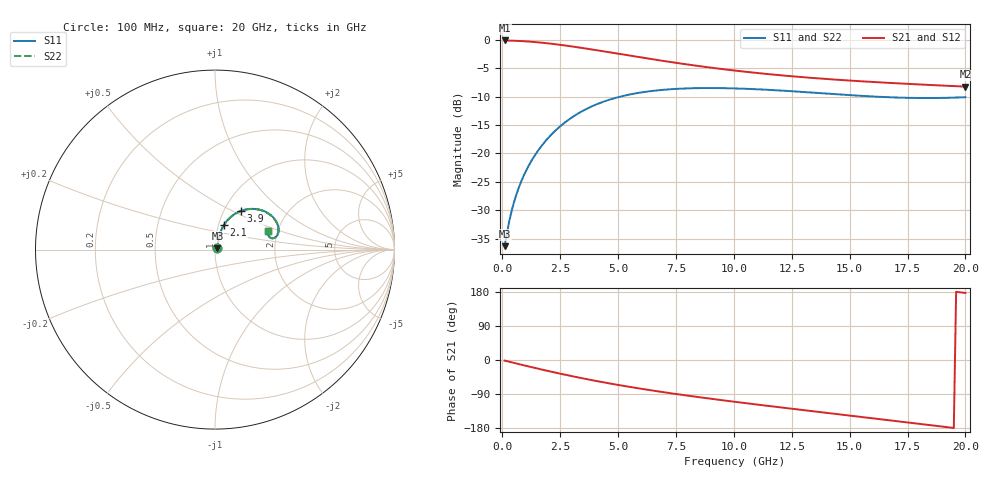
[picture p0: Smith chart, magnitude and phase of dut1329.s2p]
! Touchstone file exported from HFSS 2024.1.0
!  File:  C:/UserFiles/LocalFiles/RDL_TSV_Batchsim/temp_RDL_TSV_1329_1780388986.aedt
!  Generated:  04:45:12 PM Jun  2, 2026
!  Design:  RDL_TSV
!  Project:  temp_RDL_TSV_1329_1780388986
!  Setup:  Setup1
!  Solution:  Sweep
! Variables:
!  dtsv = 5.49um
!  hbump = 3um
!  htsv = 58.86um
!  ldown = 412.84um
!  lrdl = 393.88um
!  p = 40
!  p1 = 56.11um
!  rhole = 10um
!  subl = 2814.04um
!  t = 450um
!  tdown = 3.66um
!  trdl = 4.74um
!  viad = 10um
!  wdown = 18.63um
!  wrdl = 22.33um
!  xbump = 18um
# GHz S MA R 50.000000
! Terminal data exported
! Port[1] = TM1_1_T1
! Port[2] = TM1_4_T1
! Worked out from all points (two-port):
!   200 points, 100 MHz to 20 GHz, reference 50 ohm
!   highest |S21| = -0.12 dB at 100 MHz (marker M1); lowest = -8.2 dB at 20 GHz (marker M2)
!   |S21| within 3 dB of the highest: start of sweep to 6.013 GHz
!   lowest |S11| = -36.3 dB at 100 MHz (marker M3), VSWR 1.03, Z = 51.4 + j0.732 ohm
!   |S11| at or under -10 dB: start of sweep to 5.103 GHz; 16.08 GHz to end of sweep
!   |S22| runs from -36.3 to -8.5 dB; largest |S21 - S12| = 1.8e-14
!   S11 on the Smith chart (normalised r, x): 100 MHz: 1.03, +0.01; 2.1 GHz: 1.06, +0.30; 3.9 GHz: 1.20, +0.56; 20 GHz: 1.78, +0.41
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0.1  0.01525 27.8  0.9864 -1.6  0.9864 -1.6  0.01525 27.8
! Gamma 0 0 0 0
! Port Impedance 50 0 50 0
0.3  0.02528 53.7  0.9841 -4.6  0.9841 -4.6  0.02528 53.7
0.4  0.03099 59.5  0.9827 -6.1  0.9827 -6.1  0.03099 59.5
0.6  0.04297 66.2  0.9792 -9.1  0.9792 -9.1  0.04297 66.2
0.8  0.05554 69.8  0.9747 -12.1  0.9747 -12.1  0.05553 69.7
1.1  0.07524 72.1  0.9662 -16.5  0.9662 -16.5  0.07522 72.0
1.4  0.09571 72.6  0.9555 -20.8  0.9555 -20.8  0.09567 72.5
1.7  0.1167 71.9  0.943 -25.1  0.943 -25.1  0.1166 71.9
2.1  0.145 70.1  0.9239 -30.7  0.9239 -30.7  0.1449 70.0
2.8  0.1937 65.2  0.8858 -40.0  0.8858 -40.0  0.1934 65.1
3.5  0.2383 59.3  0.8444 -48.8  0.8444 -48.8  0.238 59.2
3.9  0.2612 55.9  0.8202 -53.5  0.8202 -53.5  0.2607 55.8
4.5  0.2913 50.8  0.784 -60.4  0.784 -60.4  0.2907 50.7
5.2  0.3197 45.1  0.743 -67.9  0.743 -67.9  0.319 45.0
6.8  0.3605 33.8  0.6587 -83.5  0.6587 -83.5  0.3596 33.7
8.4  0.3753 25.0  0.5903 -97.3  0.5903 -97.3  0.3742 24.9
10.1  0.3729 18.1  0.5341 -110.8  0.5341 -110.8  0.3718 18.1
11.7  0.3607 13.9  0.4939 -122.8  0.4939 -122.8  0.3595 13.8
13.4  0.3428 11.5  0.4613 -135.1  0.4613 -135.1  0.3416 11.4
16.7  0.312 12.9  0.4175 -158.9  0.4175 -158.9  0.3109 12.9
18.4  0.307 16.0  0.4008 -171.3  0.4008 -171.3  0.306 16.1
20  0.3124 19.4  0.3869 177.0  0.3869 177.0  0.3115 19.4
